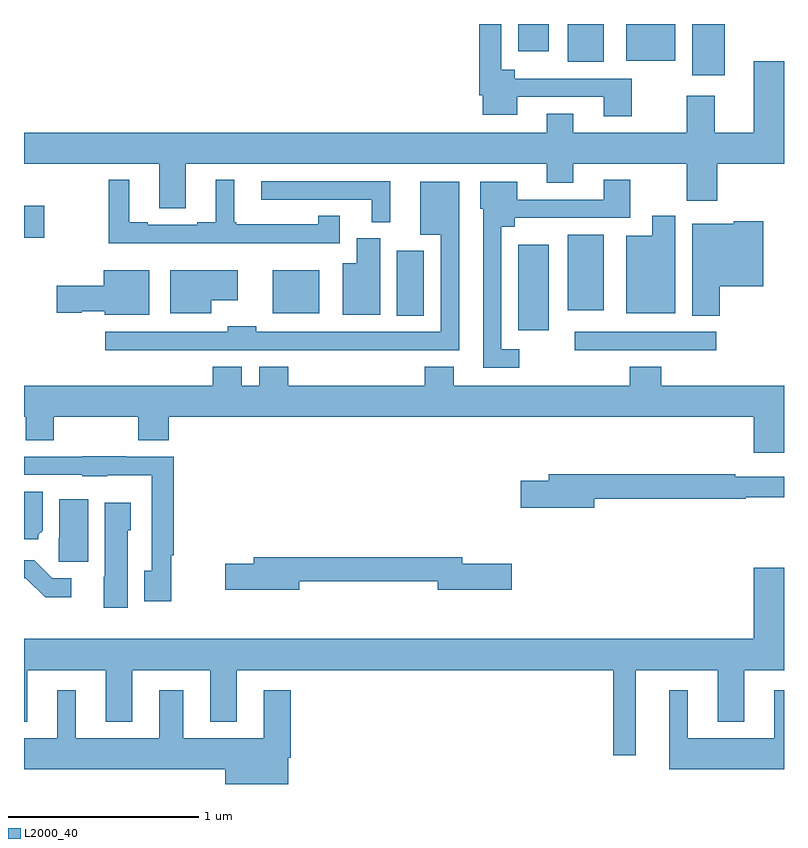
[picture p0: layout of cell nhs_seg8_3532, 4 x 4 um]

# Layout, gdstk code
import gdstk
lib = gdstk.Library(unit=1e-6, precision=1e-09)
def R(c, l, rs):  # rectangles x0, y0, x1, y1
    for r in rs: c.add(gdstk.rectangle(r[:2], r[2:], *l))
def P(c, l, *ps):  # polygons
    for p in ps: c.add(gdstk.Polygon(p, *l))
L2000_40 = (2000, 40)

nhs_seg8_3532 = lib.new_cell('nhs_seg8_3532')
R(nhs_seg8_3532, L2000_40, [(331.899,1118.184,332.644,1118.28), (331.601,1118.289,331.762,1118.737), (330.962,1118.365,331.105,1118.707), (330.308,1118.378,330.553,1118.605), (331.862,1118.393,332.05,1118.791), (329,1118.774,329.107,1118.944), (332.516,1119.629,332.689,1119.9), (331.862,1119.701,332.05,1119.9), (332.171,1119.707,332.428,1119.9), (331.601,1119.756,331.762,1119.9)])
P(nhs_seg8_3532, L2000_40, [(332.199,1119.612),(331.582,1119.612),(331.582,1119.658),(331.512,1119.658),(331.512,1119.9),(331.396,1119.9),(331.396,1119.526),(331.415,1119.526),(331.415,1119.422),(331.597,1119.422),(331.597,1119.516),(332.051,1119.516),(332.051,1119.414),(332.199,1119.414)],
  [(329.851,1119.164),(331.751,1119.164),(331.751,1119.065),(331.891,1119.065),(331.891,1119.164),(332.488,1119.164),(332.488,1118.97),(332.648,1118.97),(332.648,1119.164),(333,1119.164),(333,1119.703),(332.84,1119.703),(332.84,1119.328),(332.635,1119.328),(332.635,1119.523),(332.488,1119.523),(332.488,1119.328),(331.891,1119.328),(331.891,1119.427),(331.751,1119.427),(331.751,1119.328),(329,1119.328),(329,1119.164),(329.711,1119.164),(329.711,1118.929),(329.851,1118.929)],
  [(331.606,1118.187),(331.512,1118.187),(331.512,1118.834),(331.582,1118.834),(331.582,1118.88),(332.191,1118.88),(332.191,1119.079),(332.051,1119.079),(332.051,1118.976),(331.597,1118.976),(331.597,1119.07),(331.4,1119.07),(331.4,1118.928),(331.416,1118.928),(331.416,1118.091),(331.606,1118.091)],
  [(330.661,1118.891),(330.548,1118.891),(330.548,1118.845),(330.118,1118.845),(330.118,1118.857),(330.106,1118.857),(330.106,1119.079),(330.008,1119.079),(330.008,1118.857),(329.912,1118.857),(329.912,1118.844),(329.65,1118.844),(329.65,1118.857),(329.554,1118.857),(329.554,1119.079),(329.445,1119.079),(329.445,1118.747),(330.661,1118.747)],
  [(330.928,1119.072),(330.249,1119.072),(330.249,1118.976),(330.83,1118.976),(330.83,1118.857),(330.928,1118.857)],
  [(329.972,1118.184),(330.475,1118.184),(330.475,1118.183),(331.025,1118.183),(331.025,1118.184),(331.29,1118.184),(331.29,1119.07),(331.085,1119.07),(331.085,1118.792),(331.194,1118.792),(331.194,1118.28),(330.222,1118.28),(330.222,1118.308),(330.072,1118.308),(330.072,1118.28),(329.427,1118.28),(329.427,1118.183),(329.972,1118.183)],
  [(332.428,1118.89),(332.306,1118.89),(332.306,1118.785),(332.171,1118.785),(332.171,1118.378),(332.428,1118.378)],
  [(332.663,1118.519),(332.89,1118.519),(332.89,1118.863),(332.736,1118.863),(332.736,1118.848),(332.516,1118.848),(332.516,1118.365),(332.663,1118.365)],
  [(330.874,1118.772),(330.752,1118.772),(330.752,1118.641),(330.677,1118.641),(330.677,1118.369),(330.874,1118.369)],
  [(329.986,1118.447),(330.124,1118.447),(330.124,1118.605),(329.771,1118.605),(329.771,1118.378),(329.986,1118.378)],
  [(329.659,1118.605),(329.42,1118.605),(329.42,1118.522),(329.172,1118.522),(329.172,1118.38),(329.304,1118.38),(329.304,1118.387),(329.424,1118.387),(329.424,1118.369),(329.659,1118.369)],
  [(333,1117.996),(332.354,1117.996),(332.354,1118.095),(332.189,1118.095),(332.189,1117.996),(331.261,1117.996),(331.261,1118.095),(331.109,1118.095),(331.109,1117.996),(330.392,1117.996),(330.392,1118.095),(330.239,1118.095),(330.239,1117.996),(330.145,1117.996),(330.145,1118.095),(329.993,1118.095),(329.993,1117.996),(329,1117.996),(329,1117.832),(329.009,1117.832),(329.009,1117.708),(329.157,1117.708),(329.157,1117.832),(329.602,1117.832),(329.602,1117.708),(329.762,1117.708),(329.762,1117.832),(332.84,1117.832),(332.84,1117.644),(333,1117.644)],
  [(329.774,1117.105),(329.789,1117.105),(329.789,1117.623),(329.539,1117.623),(329.539,1117.625),(329.307,1117.625),(329.307,1117.623),(329,1117.623),(329,1117.527),(329.307,1117.527),(329.307,1117.52),(329.439,1117.52),(329.439,1117.526),(329.673,1117.526),(329.673,1117.022),(329.633,1117.022),(329.633,1116.861),(329.774,1116.861)],
  [(332.002,1117.402),(332.798,1117.402),(332.798,1117.41),(333,1117.41),(333,1117.518),(332.744,1117.518),(332.744,1117.531),(331.763,1117.531),(331.763,1117.497),(331.614,1117.497),(331.614,1117.355),(332.002,1117.355)],
  [(329.076,1117.212),(329.098,1117.234),(329.098,1117.438),(329,1117.438),(329,1117.187),(329.076,1117.187)],
  [(329.338,1117.399),(329.186,1117.399),(329.186,1117.194),(329.182,1117.194),(329.182,1117.071),(329.338,1117.071)],
  [(329.545,1117.236),(329.563,1117.236),(329.563,1117.381),(329.426,1117.381),(329.426,1116.99),(329.42,1116.99),(329.42,1116.828),(329.545,1116.828)],
  [(330.448,1116.966),(331.178,1116.966),(331.178,1116.923),(331.567,1116.923),(331.567,1117.058),(331.306,1117.058),(331.306,1117.094),(330.209,1117.094),(330.209,1117.058),(330.06,1117.058),(330.06,1116.923),(330.448,1116.923)],
  [(329.248,1116.984),(329.148,1116.984),(329.054,1117.078),(329,1117.078),(329,1116.984),(329.01,1116.984),(329.113,1116.882),(329.248,1116.882)],
  [(332.221,1116.5),(332.651,1116.5),(332.651,1116.227),(332.791,1116.227),(332.791,1116.5),(333,1116.5),(333,1117.039),(332.84,1117.039),(332.84,1116.664),(329,1116.664),(329,1116.227),(329.017,1116.227),(329.017,1116.5),(329.429,1116.5),(329.429,1116.227),(329.569,1116.227),(329.569,1116.5),(329.981,1116.5),(329.981,1116.227),(330.121,1116.227),(330.121,1116.5),(332.1,1116.5),(332.1,1116.051),(332.221,1116.051)],
  [(330.391,1116.038),(330.404,1116.038),(330.404,1116.394),(330.263,1116.394),(330.263,1116.142),(329.839,1116.142),(329.839,1116.394),(329.711,1116.394),(329.711,1116.142),(329.272,1116.142),(329.272,1116.394),(329.174,1116.394),(329.174,1116.142),(329,1116.142),(329,1115.978),(330.059,1115.978),(330.059,1115.9),(330.391,1115.9)],
  [(333,1116.394),(332.948,1116.394),(332.948,1116.142),(332.494,1116.142),(332.494,1116.394),(332.396,1116.394),(332.396,1115.978),(333,1115.978)])

lib.write_gds('nhs_seg8_3532.gds')
